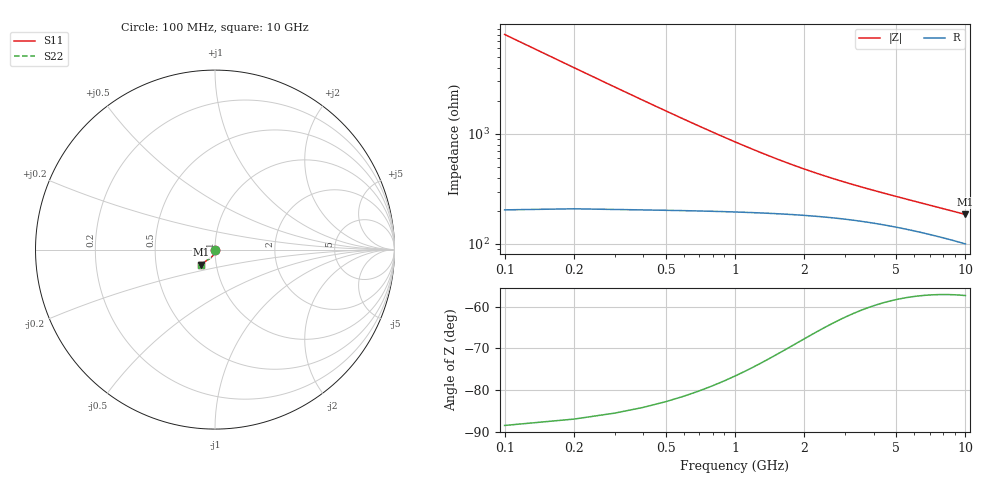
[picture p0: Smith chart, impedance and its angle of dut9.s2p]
! Touchstone file exported from HFSS 2024.1.0
!  File:  C:/UserFiles/LocalFiles/RDL_TSV_Batchsim/temp_TSV1_9_1778746453.aedt
!  Generated:  04:18:13 PM May 14, 2026
!  Design:  TSV1
!  Project:  temp_TSV1_9_1778746453
!  Setup:  Setup1
!  Solution:  Sweep
! Variables:
!  dtsv = 20.15um
!  hbump = 3um
!  htsv = 81.46um
!  lrdl = 252.1521522um
!  p = 40
!  p1 = 43.7um
!  t = 500um
!  trdl = 3um
!  wrdl = 24.89489489um
# GHz S MA R 50.000000
! Terminal data exported
! Port[1] = TSV22_T1
! Port[2] = TSV22_T2
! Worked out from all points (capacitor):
!   100 points, 100 MHz to 10 GHz, reference 50 ohm
!   read as one part in shunt: C = 199 fF near 100 MHz
!   lowest |Z| = 186 ohm at 10 GHz (marker M1)
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0.1  0.002895 -90.0  0.9998 -0.2  0.9998 -0.2  0.002895 -90.0
! Gamma 0 0 0 0
! Port Impedance 50 0 50 0
0.2  0.005814 -92.6  0.9996 -0.4  0.9996 -0.4  0.005814 -92.6
0.3  0.008708 -94.4  0.9991 -0.6  0.9991 -0.6  0.008708 -94.4
0.4  0.01157 -96.1  0.9985 -0.8  0.9985 -0.8  0.01157 -96.1
0.5  0.01438 -97.8  0.9978 -0.9  0.9978 -0.9  0.01438 -97.8
0.6  0.01714 -99.3  0.9969 -1.1  0.9969 -1.1  0.01714 -99.3
0.7  0.01983 -100.9  0.9959 -1.3  0.9959 -1.3  0.01983 -100.9
0.8  0.02246 -102.3  0.9949 -1.4  0.9949 -1.4  0.02246 -102.3
0.9  0.02502 -103.8  0.9937 -1.6  0.9937 -1.6  0.02502 -103.8
1.1  0.0299 -106.5  0.9912 -1.9  0.9912 -1.9  0.0299 -106.5
1.4  0.03661 -110.1  0.9873 -2.3  0.9873 -2.3  0.03661 -110.1
1.6  0.04068 -112.3  0.9845 -2.5  0.9845 -2.5  0.04068 -112.3
1.8  0.04445 -114.3  0.9818 -2.7  0.9818 -2.7  0.04445 -114.3
2.1  0.04958 -116.8  0.9779 -3.0  0.9779 -3.0  0.04958 -116.8
2.5  0.05559 -119.7  0.9729 -3.3  0.9729 -3.3  0.05559 -119.7
2.9  0.06083 -122.0  0.9684 -3.6  0.9684 -3.6  0.06083 -122.0
3.4  0.06659 -124.2  0.9633 -3.9  0.9633 -3.9  0.06659 -124.2
4.2  0.0745 -126.8  0.9565 -4.3  0.9565 -4.3  0.0745 -126.8
5.1  0.08214 -128.7  0.9501 -4.8  0.9501 -4.8  0.08214 -128.7
6.7  0.09374 -130.8  0.9409 -5.5  0.9409 -5.5  0.09374 -130.8
8.4  0.1043 -132.1  0.9332 -6.3  0.9332 -6.3  0.1043 -132.1
10  0.1132 -132.7  0.9271 -6.9  0.9271 -6.9  0.1132 -132.7
